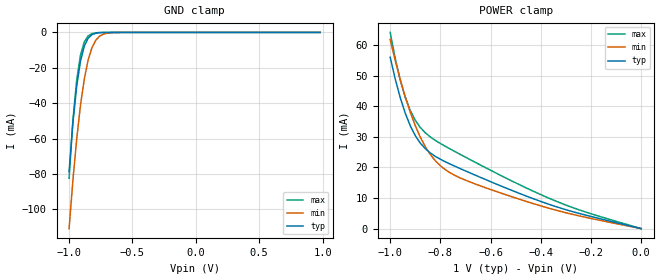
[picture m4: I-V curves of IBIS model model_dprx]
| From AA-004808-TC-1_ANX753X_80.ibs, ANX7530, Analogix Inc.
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[Model]  model_dprx
Model_type Input
Polarity   Non-Inverting
C_comp   0.7000pF   NA   NA
[Temperature Range]   27.0000   100.0000   0.0
[Voltage Range]   1.0000V   0.9000V   1.1000V
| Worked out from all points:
|   GND clamp passes 1 mA (typ) near -0.81 V on its own axis
|   POWER clamp passes 1 mA (typ) near -0.05 V on its own axis
[GND_clamp]
|Voltage   I(typ)   I(min)   I(max)
-1V       -78.64mA   -110.9mA   -82.44mA
-970mV    -51.19mA   -83.72mA   -49.93mA
-940mV    -30.43mA   -60.36mA   -27.02mA
-910mV    -16.25mA   -41.21mA   -12.85mA
-880mV    -7.741mA   -26.38mA   -5.366mA
-850mV    -3.316mA   -15.72mA   -2.007mA
-820mV    -1.306mA   -8.695mA   -697.3uA
-790mV    -485.8uA   -4.48mA    -235.1uA
-760mV    -175.6uA   -2.173mA   -82.01uA
-700mV    -24.32uA   -454.3uA   -17.35uA
-610mV    -4.176uA   -44.02uA   -9.511uA
980mV     -48.85nA   4.37uA     -343.4nA
[POWER_clamp]
|Voltage   I(typ)   I(min)   I(max)
-1V       56mA       61.76mA    64.1mA
-980mV    48.92mA    54.96mA    55.62mA
-960mV    42.81mA    48.71mA    48.57mA
-940mV    37.71mA    43.05mA    42.93mA
-920mV    33.59mA    38.02mA    38.6mA
-900mV    30.38mA    33.63mA    35.39mA
-860mV    26.11mA    26.76mA    31.3mA
-820mV    23.6mA     22.17mA    28.82mA
-780mV    21.83mA    19.24mA    26.88mA
-640mV    16.73mA    13.95mA    20.77mA
-360mV    7.753mA    6.5mA      9.688mA
0V        34.82nA    13.57nA    107.9nA
